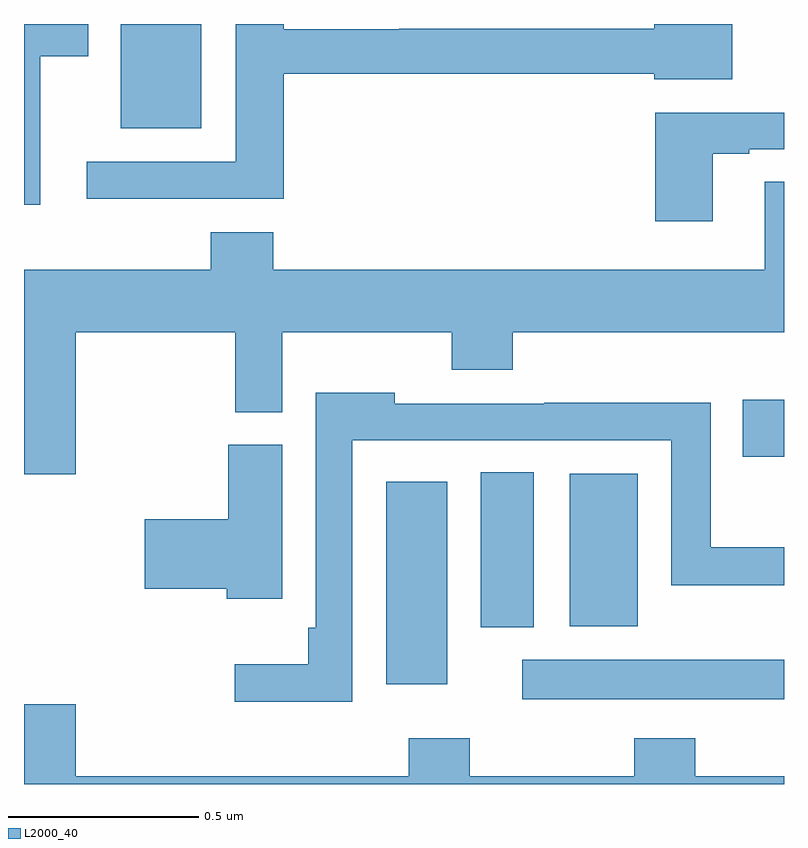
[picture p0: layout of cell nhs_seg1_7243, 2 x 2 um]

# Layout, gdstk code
import gdstk
lib = gdstk.Library(unit=1e-6, precision=1e-09)
def R(c, l, rs):  # rectangles x0, y0, x1, y1
    for r in rs: c.add(gdstk.rectangle(r[:2], r[2:], *l))
def P(c, l, *ps):  # polygons
    for p in ps: c.add(gdstk.Polygon(p, *l))
L2000_40 = (2000, 40)

nhs_seg1_7243 = lib.new_cell('nhs_seg1_7243')
R(nhs_seg1_7243, L2000_40, [(202.311,561.422,203,561.526), (201.953,561.462,202.114,561.994), (202.202,561.611,202.342,562.019), (202.436,561.614,202.615,562.015), (202.892,562.06,203,562.21), (201.254,562.925,201.466,563.199)])
P(nhs_seg1_7243, L2000_40, [(201.683,563.068),(202.658,563.068),(202.658,563.054),(202.864,563.054),(202.864,563.199),(202.658,563.199),(202.658,563.186),(201.988,563.186),(201.988,563.185),(201.683,563.185),(201.683,563.199),(201.557,563.199),(201.557,562.836),(201.165,562.836),(201.165,562.739),(201.683,562.739)],
  [(201.043,563.114),(201.169,563.114),(201.169,563.199),(201,563.199),(201,562.724),(201.043,562.724)],
  [(202.813,562.857),(202.909,562.857),(202.909,562.869),(203,562.869),(203,562.966),(202.661,562.966),(202.661,562.68),(202.813,562.68)],
  [(201.136,562.388),(201.556,562.388),(201.556,562.177),(201.679,562.177),(201.679,562.388),(202.126,562.388),(202.126,562.289),(202.286,562.289),(202.286,562.388),(203,562.388),(203,562.784),(202.949,562.784),(202.949,562.552),(201.656,562.552),(201.656,562.651),(201.491,562.651),(201.491,562.552),(201,562.552),(201,562.014),(201.136,562.014)],
  [(201.864,562.104),(202.703,562.104),(202.703,561.722),(203,561.722),(203,561.822),(202.807,561.822),(202.807,562.202),(202.369,562.202),(202.369,562.2),(201.975,562.2),(201.975,562.228),(201.768,562.228),(201.768,561.61),(201.748,561.61),(201.748,561.514),(201.555,561.514),(201.555,561.416),(201.864,561.416)],
  [(201.679,562.092),(201.538,562.092),(201.538,561.896),(201.318,561.896),(201.318,561.713),(201.533,561.713),(201.533,561.686),(201.679,561.686)],
  [(203,561.22),(202.766,561.22),(202.766,561.319),(202.606,561.319),(202.606,561.22),(202.173,561.22),(202.173,561.319),(202.013,561.319),(202.013,561.22),(201.136,561.22),(201.136,561.409),(201,561.409),(201,561.199),(203,561.199)])

lib.write_gds('nhs_seg1_7243.gds')
